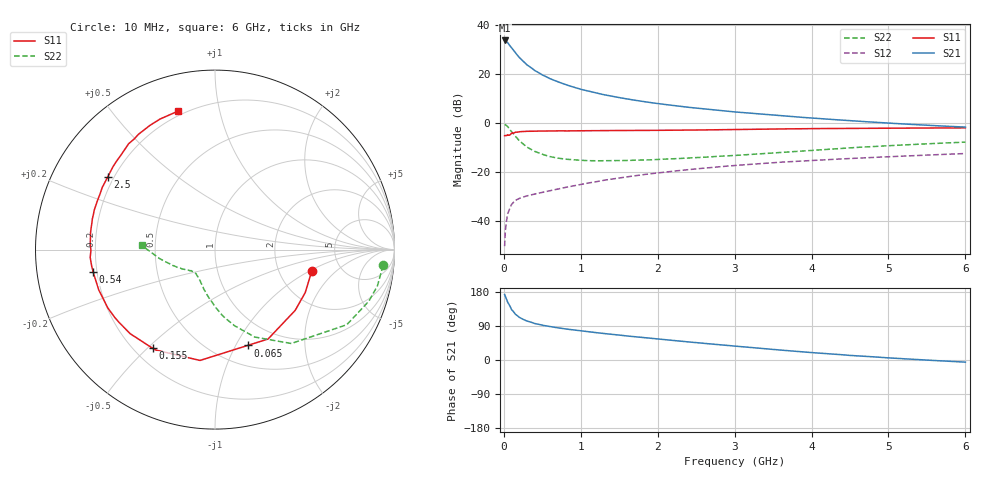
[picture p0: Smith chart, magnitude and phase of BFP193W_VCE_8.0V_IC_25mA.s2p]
! Infineon Technologies  Discrete & RF Semiconductors
! BFP193W
! VCE = 8.0 V,  IC =  25 mA
! Common Emitter S-Parameters:  Jan 2016
# GHz  S  MA  R  50
!  f  S11  S21  S12  S22
! GHz  MAG  ANG  MAG  ANG  MAG  ANG  MAG  ANG
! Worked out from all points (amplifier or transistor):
!   210 points, 10 MHz to 6 GHz, reference 50 ohm
!   highest |S21| = 33.7 dB at 10 MHz (marker M1)
!   |S21| within 3 dB of that: start of sweep to 101.9 MHz
!   unconditionally stable (mu >= 1): 936.5 MHz to 4.616 GHz
!   at 185 MHz: K = 0.36, MSG = 29.2 dB, |S12| = -31.0 dB
!   at 1.52 GHz: K = 1.10, MAG = 14.4 dB, |S12| = -22.3 dB
!   at 6 GHz: K = 0.94, MSG = 5.4 dB, |S12| = -12.4 dB
!   S11 on the Smith chart (normalised r, x): 10 MHz: 3.07, -1.05; 65 MHz: 0.71, -1.12; 155 MHz: 0.27, -0.52; 540 MHz: 0.19, -0.09; 2.5 GHz: 0.18, +0.30; 6 GHz: 0.18, +0.75
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0.01  0.5523 -12.5  48.24 172.8  0.0031 83.8  0.9405 -5.4
0.02  0.5569 -25.5  47.68 168.0  0.0064 78.3  0.9273 -12.6
0.03  0.5605 -37.2  46.65 162.6  0.0089 75.0  0.9043 -18.5
0.05  0.5793 -59.3  43.46 152.4  0.0141 66.6  0.8451 -29.7
0.065  0.5641 -71.2  40.33 147.6  0.0163 61.1  0.7835 -35.1
0.1  0.6232 -97.7  34.46 133.2  0.0219 52.7  0.6741 -50.9
0.15  0.6509 -120.9  27.08 120.7  0.0266 44.7  0.5356 -65.5
0.155  0.6505 -122.3  26.53 120.0  0.0268 44.4  0.5253 -66.3
0.2  0.6653 -135.2  21.77 112.7  0.0291 42.1  0.4387 -75.5
0.24  0.6709 -142.7  18.86 108.3  0.0307 40.6  0.3867 -81.4
0.3  0.6799 -151.5  15.39 102.8  0.0328 40.0  0.3239 -89.1
0.4  0.6855 -160.8  11.83 96.4  0.0357 41.2  0.2653 -98.2
0.54  0.6898 -169.5  8.959 90.4  0.0399 44.0  0.2209 -107.5
0.8  0.6912 -179.6  6.082 82.0  0.0488 49.2  0.1838 -119.0
1.02  0.6972 174.3  4.796 76.5  0.0568 51.9  0.174 -125.8
1.4  0.7044 166.0  3.528 67.8  0.072 54.2  0.1711 -132.7
2.02  0.7117 154.1  2.474 55.0  0.0971 54.1  0.1822 -139.7
2.5  0.7217 146.0  2.017 45.9  0.1164 52.4  0.1976 -145.5
3.1  0.7398 136.4  1.639 35.0  0.1403 49.2  0.224 -153.0
4.1  0.7723 122.4  1.235 18.2  0.1764 42.8  0.284 -166.2
5.1  0.7896 112.0  0.977 4.5  0.2092 36.6  0.3524 -177.0
6  0.7985 104.8  0.828 -5.6  0.2394 31.6  0.409 176.6
